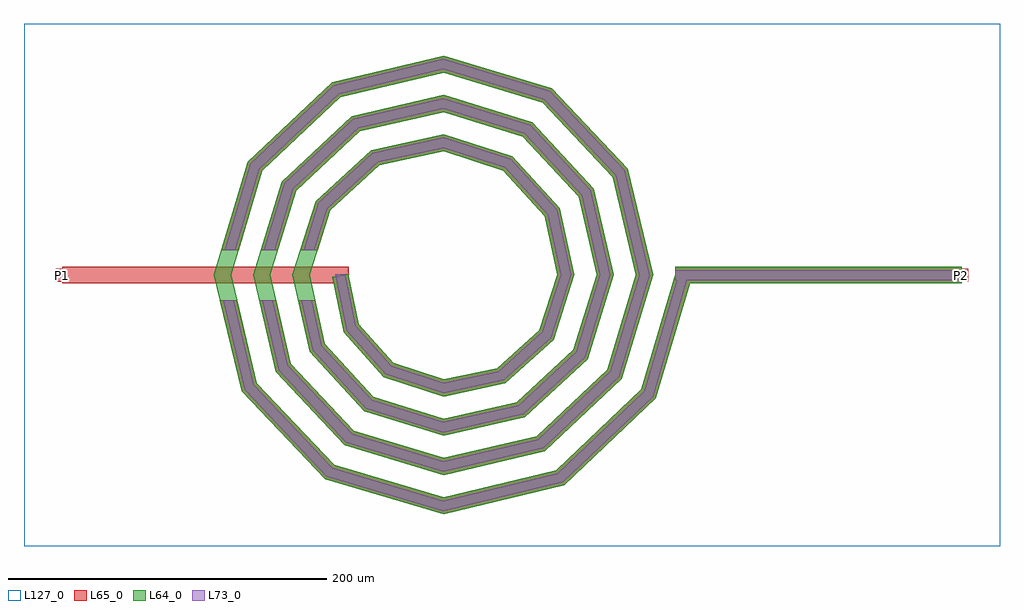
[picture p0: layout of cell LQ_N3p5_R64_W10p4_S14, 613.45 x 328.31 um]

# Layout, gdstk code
import gdstk
lib = gdstk.Library(unit=1e-6, precision=1e-09)
def R(c, l, rs):  # rectangles x0, y0, x1, y1
    for r in rs: c.add(gdstk.rectangle(r[:2], r[2:], *l))
def P(c, l, *ps):  # polygons
    for p in ps: c.add(gdstk.Polygon(p, *l))
L64_0 = (64, 0)
L65_0 = (65, 0)
L73_0 = (73, 0)
L127_0 = (127, 0)

lq_n3p5_r64_w10p4_s14 = lib.new_cell('LQ_N3p5_R64_W10p4_S14')
R(lq_n3p5_r64_w10p4_s14, L64_0, [(145.915,-5.2,325.915,5.2)])
P(lq_n3p5_r64_w10p4_s14, L64_0, [(-53.033,-30.975),(-31.476,-55.118),(0.291,-65.528),(34.037,-58.388),(60.448,-34.582),(71.697,0.268),(63.742,37.103),(37.685,65.781),(0.248,77.866),(-40.171,69.094),(-71.114,40.785),(-84.036,0.231),(-74.445,-43.242),(-43.883,-76.449),(0.216,-90.205),(46.314,-79.795),(81.786,-46.98),(96.375,0.203),(85.145,49.388),(50.075,87.123),(0.191,102.545),(-52.463,90.493),(-92.461,53.169),(-108.714,0.181),(-95.841,-55.539),(-56.262,-97.799),(0.172,-114.884),(58.617,-101.189),(103.138,-59.355),(121.054,0.163),(106.537,61.695),(62.447,108.477),(0.156,127.224),(-64.773,111.883),(-113.817,65.538),(-133.394,0.149),(-117.23,-67.852),(-68.628,-119.157),(0.143,-139.564),(70.932,-122.576),(124.497,-71.718),(146.129,1.474),(156.102,-1.474),(133.68,-77.34),(76.07,-132.039),(0.143,-150.327),(-74.26,-128.334),(-126.698,-72.98),(-144.157,0.149),(-122.987,71.181),(-69.889,121.358),(0.156,137.987),(68.102,117.64),(116.018,66.797),(131.817,0.163),(112.292,-65.024),(63.705,-110.679),(0.172,-125.646),(-61.946,-106.944),(-105.339,-60.612),(-119.476,0.181),(-101.596,58.869),(-57.519,100.001),(0.191,113.306),(55.793,96.247),(94.663,54.424),(107.135,0.203),(90.897,-52.719),(51.328,-89.325),(0.216,-100.965),(-49.645,-85.546),(-83.988,-48.23),(-94.794,0.231),(-80.195,46.573),(-45.131,78.653),(0.248,88.624),(43.503,74.842),(73.318,42.029),(82.453,0.268),(69.487,-40.436),(38.924,-67.985),(0.291,-76.282),(-37.372,-64.13),(-62.653,-35.816),(-69.827,-1.051),(-59.642,1.051)])
R(lq_n3p5_r64_w10p4_s14, L65_0, [(-239.535,-5.2,-59.535,5.2), (145.915,-5.2,325.915,5.2), (-243.535,-4,-235.535,4), (321.915,-4,329.915,4)])
P(lq_n3p5_r64_w10p4_s14, L65_0, [(-117.23,-67.852),(-68.628,-119.157),(0.143,-139.564),(70.932,-122.576),(124.497,-71.718),(146.129,1.474),(156.102,-1.474),(133.68,-77.34),(76.07,-132.039),(0.143,-150.327),(-74.26,-128.334),(-126.698,-72.98),(-140.397,-15.6),(-129.705,-15.6)],
  [(-95.842,-55.539),(-56.262,-97.799),(0.172,-114.884),(58.617,-101.189),(103.138,-59.355),(121.054,0.163),(106.537,61.695),(62.447,108.477),(0.156,127.224),(-64.773,111.883),(-113.817,65.538),(-128.7,15.6),(-139.552,15.6),(-122.987,71.181),(-69.889,121.358),(0.156,137.987),(68.102,117.64),(116.018,66.797),(131.817,0.163),(112.292,-65.024),(63.705,-110.679),(0.172,-125.646),(-61.946,-106.944),(-105.339,-60.612),(-115.806,-15.6),(-105.129,-15.6)],
  [(-74.445,-43.242),(-43.883,-76.45),(0.216,-90.205),(46.314,-79.795),(81.786,-46.98),(96.375,0.203),(85.145,49.388),(50.075,87.123),(0.191,102.545),(-52.463,90.493),(-92.461,53.169),(-103.906,15.6),(-114.778,15.6),(-101.596,58.869),(-57.519,100.001),(0.191,113.306),(55.793,96.247),(94.663,54.424),(107.135,0.203),(90.897,-52.719),(51.328,-89.325),(0.216,-100.965),(-49.645,-85.546),(-83.988,-48.23),(-91.264,-15.6),(-80.609,-15.6)],
  [(-31.476,-55.118),(0.291,-65.528),(34.037,-58.388),(60.448,-34.582),(71.697,0.268),(63.742,37.103),(37.685,65.781),(0.248,77.866),(-40.171,69.094),(-71.114,40.785),(-79.049,15.6),(-89.952,15.6),(-80.195,46.573),(-45.131,78.653),(0.248,88.624),(43.504,74.842),(73.318,42.029),(82.453,0.268),(69.487,-40.436),(38.924,-67.985),(0.291,-76.282),(-37.372,-64.13),(-62.653,-35.816),(-69.828,-1.051),(-59.642,1.051),(-53.033,-30.975)])
R(lq_n3p5_r64_w10p4_s14, L73_0, [(145.915,-3.2,325.915,3.2)])
P(lq_n3p5_r64_w10p4_s14, L73_0, [(-119.051,-68.838),(-69.711,-120.922),(0.088,-141.634),(71.92,-124.396),(126.263,-72.8),(148.047,0.907),(154.184,0.907),(131.914,-76.259),(75.082,-130.219),(0.088,-148.257),(-73.177,-126.569),(-124.877,-71.994),(-138.341,-15.6),(-131.761,-15.6)],
  [(-97.668,-56.515),(-57.356,-99.558),(0.106,-116.954),(59.595,-103.014),(104.898,-60.445),(123.124,0.101),(108.36,62.676),(63.534,110.239),(0.096,129.294),(-65.757,113.705),(-115.58,66.623),(-130.787,15.6),(-137.465,15.6),(-121.223,70.096),(-68.905,119.536),(0.096,135.917),(67.014,115.878),(114.195,65.816),(129.747,0.101),(110.532,-63.934),(62.727,-108.854),(0.106,-123.577),(-60.853,-105.186),(-103.513,-59.637),(-113.753,-15.6),(-107.182,-15.6)],
  [(-76.281,-44.201),(-44.991,-78.199),(0.133,-92.274),(47.278,-81.628),(83.538,-48.083),(98.444,0.125),(86.975,50.356),(51.175,88.877),(0.118,104.614),(-53.435,92.322),(-94.217,54.265),(-105.997,15.6),(-112.688,15.6),(-99.839,57.773),(-56.546,98.172),(0.118,111.236),(54.694,94.492),(92.832,53.455),(105.066,0.125),(89.145,-51.615),(50.364,-87.492),(0.133,-98.896),(-48.537,-83.797),(-82.153,-47.271),(-89.215,-15.6),(-82.658,-15.6)],
  [(-32.61,-56.851),(0.179,-67.596),(34.977,-60.234),(62.187,-35.708),(73.766,0.165),(65.584,38.05),(38.804,67.523),(0.153,79.935),(-41.125,70.932),(-72.861,41.898),(-81.145,15.6),(-87.856,15.6),(-78.449,45.46),(-44.177,76.814),(0.153,86.555),(42.385,73.099),(71.476,41.082),(80.384,0.165),(67.749,-39.31),(37.985,-66.139),(0.179,-74.214),(-36.238,-62.397),(-60.803,-34.885),(-67.869,0.647),(-61.601,0.647),(-54.883,-31.906)])
R(lq_n3p5_r64_w10p4_s14, L127_0, [(-263.535,-170.327,349.915,157.987)])
lq_n3p5_r64_w10p4_s14.add(gdstk.Label('P2', (325.915,0), layer=65, texttype=0))
lq_n3p5_r64_w10p4_s14.add(gdstk.Label('P1', (-239.535,0), layer=65, texttype=0))
lq_n3p5_r64_w10p4_s14.add(gdstk.Label('P2', (329.915,0), layer=145, texttype=0))
lq_n3p5_r64_w10p4_s14.add(gdstk.Label('P1', (-243.535,0), layer=145, texttype=0))

lib.write_gds('LQ_N3p5_R64_W10p4_S14.gds')
